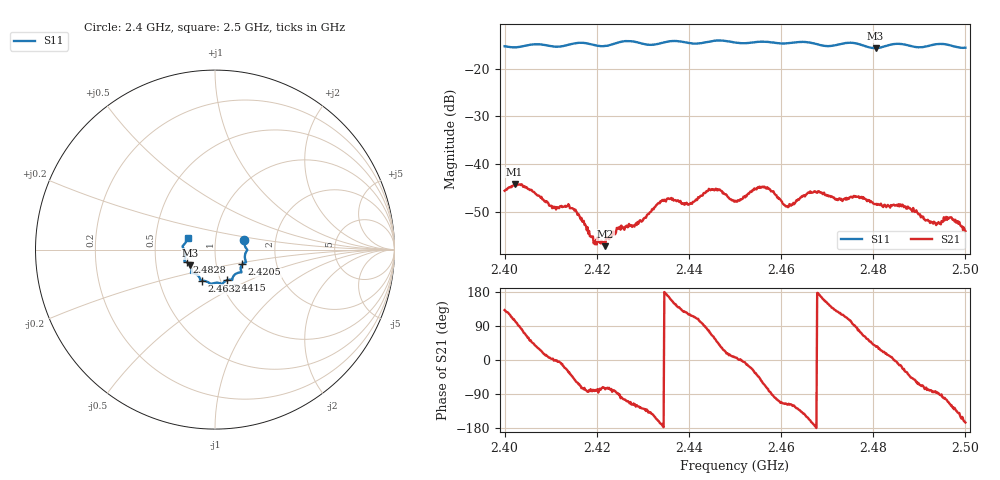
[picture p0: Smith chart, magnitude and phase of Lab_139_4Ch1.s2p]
# Hz S RI R 50
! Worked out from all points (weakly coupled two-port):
!   601 points, 2.4 GHz to 2.5 GHz, reference 50 ohm
!   highest |S21| = -44.20 dB at 2.4022 GHz (marker M1); lowest = -57.2 dB at 2.4218 GHz (marker M2)
!   lowest |S11| = -15.7 dB at 2.4805 GHz (marker M3), VSWR 1.39, Z = 37.3 - j6.7 ohm
!   |S11| at or under -10 dB: start of sweep to end of sweep
!   S12 and S22 are empty: the file has one direction only
!   S11 on the Smith chart (normalised r, x): 2.4 GHz: 1.38, +0.15; 2.4205 GHz: 1.34, -0.23; 2.4415 GHz: 1.07, -0.38; 2.4632 GHz: 0.82, -0.29; 2.4828 GHz: 0.72, -0.10; 2.5 GHz: 0.73, +0.10
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2.4e9  0.1637 0.0519  -0.00349 0.00391  0 0  0 0
2.402167e9  0.1649 0.0275  -0.00154 0.00597  0 0  0 0
2.410667e9  0.169 -0.0223  0.00345 -9.69e-05  0 0  0 0
2.414167e9  0.1693 -0.0591  0.00275 -0.00207  0 0  0 0
2.416667e9  0.1731 -0.0701  0.00074 -0.00262  0 0  0 0
2.419167e9  0.1617 -0.0747  0.000346 -0.0017  0 0  0 0
2.4205e9  0.1522 -0.0816  0.000247 -0.00149  0 0  0 0
2.421833e9  0.1451 -0.0933  0.000301 -0.00134  0 0  0 0
2.433333e9  0.1003 -0.1516  -0.00367 -0.00129  0 0  0 0
2.4415e9  0.0657 -0.1707  -0.00152 0.00396  0 0  0 0
2.4455e9  0.0421 -0.1913  0.00284 0.00447  0 0  0 0
2.45e9  0.0242 -0.1865  0.0041 0.000479  0 0  0 0
2.455833e9  -0.0208 -0.1907  0.00318 -0.00481  0 0  0 0
2.461167e9  -0.0575 -0.1747  -0.00156 -0.00326  0 0  0 0
2.463167e9  -0.0732 -0.1738  -0.00233 -0.00329  0 0  0 0
2.466667e9  -0.0823 -0.167  -0.00483 -0.0013  0 0  0 0
2.4805e9  -0.1388 -0.0874  0.00303 0.00227  0 0  0 0
2.482833e9  -0.1584 -0.0701  0.00337 0.00105  0 0  0 0
2.483333e9  -0.1624 -0.0681  0.00354 0.000788  0 0  0 0
2.4935e9  -0.1793 0.0127  0.000316 -0.00236  0 0  0 0
2.496667e9  -0.1735 0.0276  -0.00121 -0.00247  0 0  0 0
2.5e9  -0.1528 0.0644  -0.00191 -0.000516  0 0  0 0
